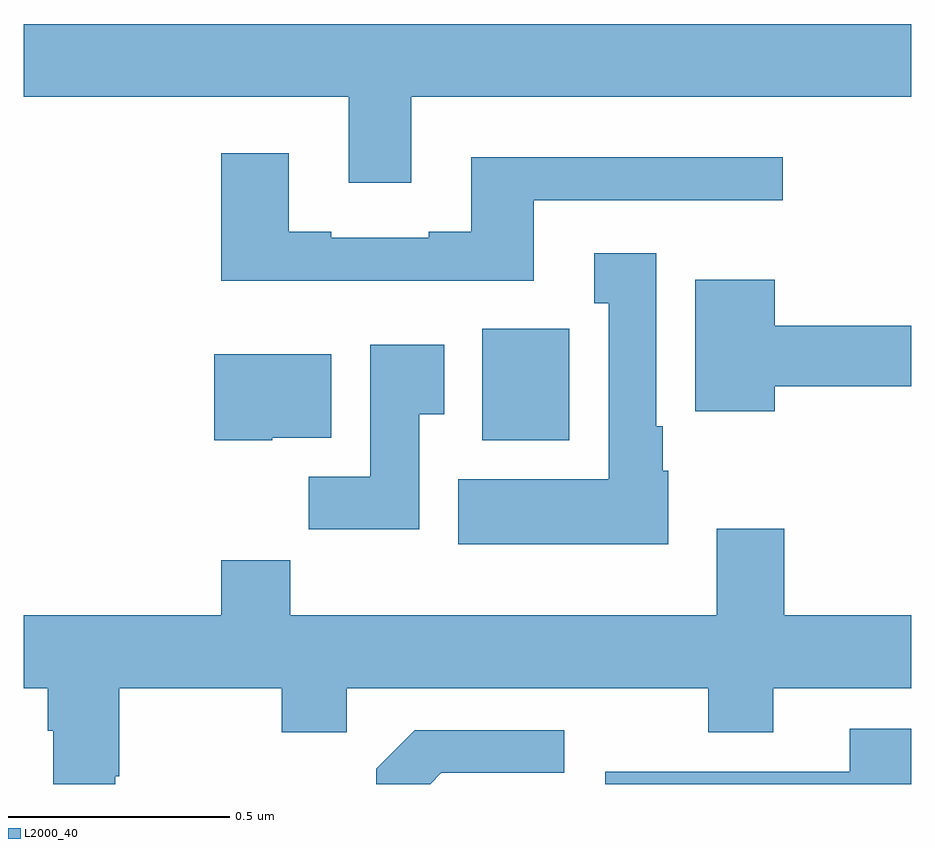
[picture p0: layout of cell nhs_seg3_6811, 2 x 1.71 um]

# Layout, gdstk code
import gdstk
lib = gdstk.Library(unit=1e-6, precision=1e-09)
def R(c, l, rs):  # rectangles x0, y0, x1, y1
    for r in rs: c.add(gdstk.rectangle(r[:2], r[2:], *l))
def P(c, l, *ps):  # polygons
    for p in ps: c.add(gdstk.Polygon(p, *l))
L2000_40 = (2000, 40)

nhs_seg3_6811 = lib.new_cell('nhs_seg3_6811')
R(nhs_seg3_6811, L2000_40, [(197.033,668.174,197.229,668.425)])
P(nhs_seg3_6811, L2000_40, [(196.873,668.948),(198,668.948),(198,669.112),(196,669.112),(196,668.948),(196.733,668.948),(196.733,668.754),(196.873,668.754)],
  [(197.149,668.715),(197.71,668.715),(197.71,668.812),(197.009,668.812),(197.009,668.644),(196.913,668.644),(196.913,668.631),(196.693,668.631),(196.693,668.644),(196.597,668.644),(196.597,668.821),(196.445,668.821),(196.445,668.534),(197.149,668.534)],
  [(197.452,668.106),(197.44,668.106),(197.44,668.206),(197.425,668.206),(197.425,668.596),(197.285,668.596),(197.285,668.483),(197.318,668.483),(197.318,668.086),(196.979,668.086),(196.979,667.94),(197.452,667.94)],
  [(197.692,668.296),(198,668.296),(198,668.432),(197.692,668.432),(197.692,668.536),(197.513,668.536),(197.513,668.24),(197.692,668.24)],
  [(196.891,668.233),(196.948,668.233),(196.948,668.389),(196.781,668.389),(196.781,668.092),(196.642,668.092),(196.642,667.974),(196.891,667.974)],
  [(196.56,668.18),(196.693,668.18),(196.693,668.368),(196.43,668.368),(196.43,668.174),(196.56,668.174)],
  [(196.207,667.417),(196.215,667.417),(196.215,667.616),(196.582,667.616),(196.582,667.517),(196.728,667.517),(196.728,667.616),(197.542,667.616),(197.542,667.517),(197.689,667.517),(197.689,667.616),(198,667.616),(198,667.78),(197.714,667.78),(197.714,667.975),(197.561,667.975),(197.561,667.78),(196.601,667.78),(196.601,667.904),(196.445,667.904),(196.445,667.78),(196,667.78),(196,667.616),(196.055,667.616),(196.055,667.52),(196.067,667.52),(196.067,667.4),(196.207,667.4)],
  [(198,667.524),(197.861,667.524),(197.861,667.428),(197.31,667.428),(197.31,667.4),(198,667.4)],
  [(196.941,667.425),(197.218,667.425),(197.218,667.521),(196.881,667.521),(196.794,667.434),(196.794,667.4),(196.916,667.4)])

lib.write_gds('nhs_seg3_6811.gds')
